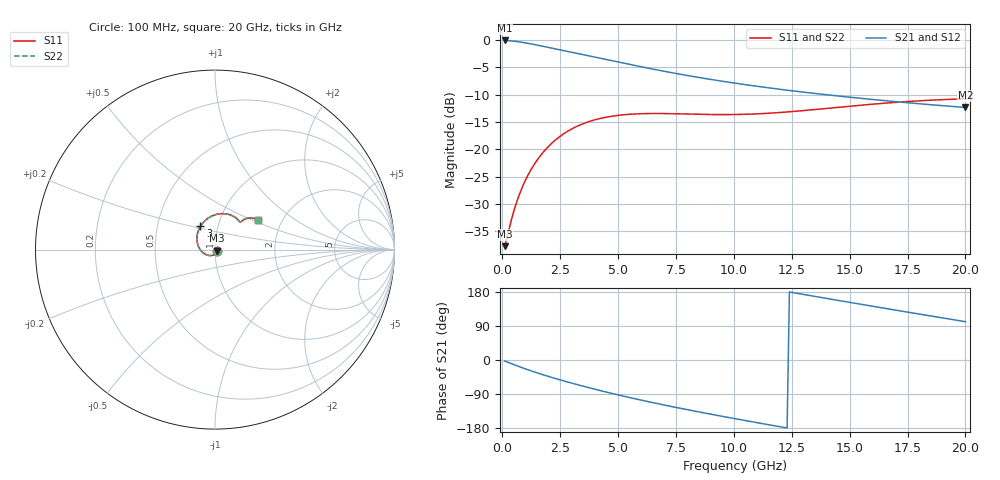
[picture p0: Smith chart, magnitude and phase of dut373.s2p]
! Touchstone file exported from HFSS 2024.1.0
!  File:  C:/UserFiles/LocalFiles/RDL_TSV_Batchsim/temp_RDL_TSV_373_1779643361.aedt
!  Generated:  01:39:05 AM May 25, 2026
!  Design:  RDL_TSV
!  Project:  temp_RDL_TSV_373_1779643361
!  Setup:  Setup1
!  Solution:  Sweep
! Variables:
!  dtsv = 13.74um
!  hbump = 3um
!  htsv = 99.97um
!  ldown = 606.8um
!  lrdl = 427.7um
!  p = 40
!  p1 = 53.84um
!  rhole = 10um
!  subl = 3531.2um
!  t = 450um
!  tdown = 4.73um
!  trdl = 4.07um
!  viad = 10um
!  wdown = 21.76um
!  wrdl = 28.86um
!  xbump = 18um
# GHz S MA R 50.000000
! Terminal data exported
! Port[1] = TM1_1_T1
! Port[2] = TM1_4_T1
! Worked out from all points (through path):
!   200 points, 100 MHz to 20 GHz, reference 50 ohm
!   highest |S21| = -0.11 dB at 100 MHz (marker M1); lowest = -12.4 dB at 20 GHz (marker M2)
!   group delay of S21, straight-line fit = 33.7 ps
!   lowest |S11| = -37.7 dB at 100 MHz (marker M3), VSWR 1.03, Z = 51.2 - j0.557 ohm
!   |S11| at or under -10 dB: start of sweep to end of sweep
!   |S22| runs from -37.7 to -10.8 dB; largest |S21 - S12| = 9.6e-15
!   S11 on the Smith chart (normalised r, x): 100 MHz: 1.02, -0.01; 3 GHz: 0.82, +0.22; 20 GHz: 1.51, +0.54
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0.1  0.01298 -24.8  0.9869 -2.5  0.9869 -2.5  0.01298 -24.8
! Gamma 0 0 0 0
! Port Impedance 50 0 50 0
0.4  0.02289 -82.0  0.9768 -9.8  0.9768 -9.8  0.0229 -82.0
0.6  0.03187 -107.0  0.9663 -14.5  0.9663 -14.5  0.03187 -107.0
0.9  0.0468 -135.5  0.9458 -21.3  0.9458 -21.3  0.0468 -135.4
1.2  0.06277 -158.0  0.9215 -27.8  0.9215 -27.8  0.06277 -157.9
1.6  0.0847 177.8  0.8866 -35.9  0.8866 -35.9  0.08468 177.9
2  0.1063 158.1  0.8514 -43.5  0.8514 -43.5  0.1062 158.2
2.5  0.1313 138.1  0.8089 -52.5  0.8089 -52.5  0.1313 138.2
3  0.1532 121.9  0.7686 -61.1  0.7686 -61.1  0.1531 121.9
3.5  0.1714 108.4  0.7302 -69.3  0.7302 -69.3  0.1712 108.5
4.2  0.1904 93.0  0.6795 -80.3  0.6795 -80.3  0.1902 93.1
5.1  0.205 77.9  0.6198 -93.5  0.6198 -93.5  0.2047 78.0
5.9  0.2108 67.8  0.5722 -104.6  0.5722 -104.6  0.2105 67.9
6.8  0.212 59.5  0.5249 -116.4  0.5249 -116.4  0.2117 59.6
8.3  0.2089 51.2  0.4598 -134.8  0.4598 -134.8  0.2085 51.4
10.1  0.2076 47.5  0.4001 -155.4  0.4001 -155.4  0.2074 47.8
11.7  0.2144 46.8  0.3595 -173.0  0.3595 -173.0  0.2144 47.2
13.4  0.2294 46.2  0.3252 168.9  0.3252 168.9  0.2297 46.6
15  0.2471 44.5  0.2989 152.1  0.2989 152.1  0.2476 44.9
16.7  0.2653 41.7  0.2756 134.5  0.2756 134.5  0.2661 42.1
18.3  0.2792 38.4  0.2572 118.2  0.2572 118.2  0.2801 38.7
20  0.2889 34.7  0.2407 101.1  0.2407 101.1  0.29 35.1
